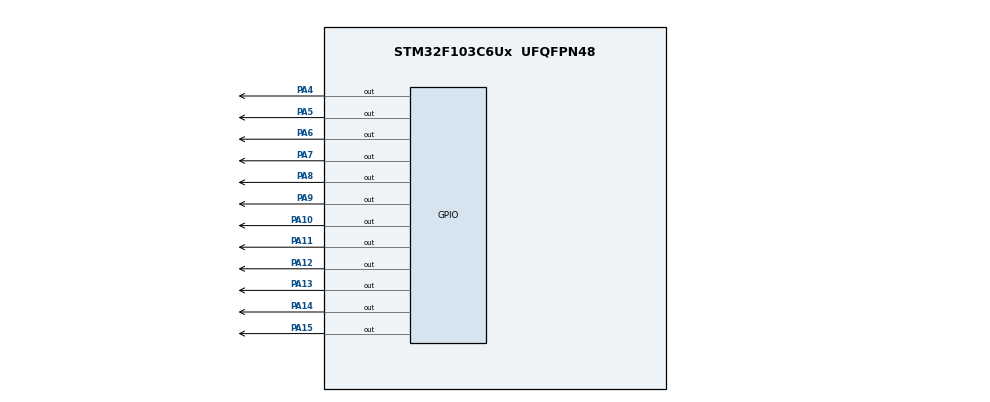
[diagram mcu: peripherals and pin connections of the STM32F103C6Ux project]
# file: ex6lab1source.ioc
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Mcu.Family=STM32F1
Mcu.Name=STM32F103C6Ux
Mcu.Package=UFQFPN48
NVIC.PriorityGroup=NVIC_PRIORITYGROUP_4
PA10.Signal=GPIO_Output
PA11.Signal=GPIO_Output
PA12.Signal=GPIO_Output
PA13.Signal=GPIO_Output
PA14.Signal=GPIO_Output
PA15.Signal=GPIO_Output
PA4.Signal=GPIO_Output
PA5.Signal=GPIO_Output
PA6.Signal=GPIO_Output
PA7.Signal=GPIO_Output
PA8.Signal=GPIO_Output
PA9.Signal=GPIO_Output
ProjectManager.HeapSize=0x200
ProjectManager.StackSize=0x400
ProjectManager.TargetToolchain=Makefile
RCC.APB1Freq_Value=8000000
RCC.APB2Freq_Value=8000000
VP_SYS_VS_ND.Mode=No_Debug
board=custom

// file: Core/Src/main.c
/* USER CODE BEGIN Header */
/**
  ******************************************************************************
  * @file           : main.c
  * @brief          : Main program body
  ******************************************************************************
  * @attention
  *
  * Copyright (c) 2022 STMicroelectronics.
  * All rights reserved.
  *
  * This software is licensed under terms that can be found in the LICENSE file
  * in the root directory of this software component.
  * If no LICENSE file comes with this software, it is provided AS-IS.
  *
  ******************************************************************************
  */
/* USER CODE END Header */
#include "main.h"

void SystemClock_Config(void);
static void MX_GPIO_Init(void);

/* USER CODE BEGIN 0 */
void clearAllClock() {
  GPIOA->ODR = 0xffff;
}

void setNumberOnClock(int num) {
  GPIOA->ODR &= 0xffff & ~(1u << (4 + num));
}

void clearNumberOnClock(int num) {
  GPIOA->ODR |= (1u << (4 + num));
}

/* USER CODE END 0 */

int main(void)
{

  /* MCU Configuration--------------------------------------------------------*/

  /* Reset of all peripherals, Initializes the Flash interface and the Systick. */
  HAL_Init();

  /* Configure the system clock */
  SystemClock_Config();

  /* Initialize all configured peripherals */
  MX_GPIO_Init();
  /* USER CODE BEGIN 2 */
  uint32_t counter = 0;
  /* USER CODE END 2 */

  /* Infinite loop */
  /* USER CODE BEGIN WHILE */
  while (1)
  {
    int seconds = counter % 60;
    int minutes = counter / 60 % 60;
    int hours   = counter / 3600;

    clearAllClock();
    setNumberOnClock(seconds / 5);
    setNumberOnClock(minutes / 5);
    setNumberOnClock(hours % 12);
    counter = (counter + 1) % 86400;
    HAL_Delay(1000);

    /* USER CODE END WHILE */

  }
}

void SystemClock_Config(void)
{
  RCC_OscInitTypeDef RCC_OscInitStruct = {0};
  RCC_ClkInitTypeDef RCC_ClkInitStruct = {0};

  /** Initializes the RCC Oscillators according to the specified parameters
  * in the RCC_OscInitTypeDef structure.
  */
  RCC_OscInitStruct.OscillatorType = RCC_OSCILLATORTYPE_HSI;
  RCC_OscInitStruct.HSIState = RCC_HSI_ON;
  RCC_OscInitStruct.HSICalibrationValue = RCC_HSICALIBRATION_DEFAULT;
  RCC_OscInitStruct.PLL.PLLState = RCC_PLL_NONE;
  if (HAL_RCC_OscConfig(&RCC_OscInitStruct) != HAL_OK)
  {
    Error_Handler();
  }

  /** Initializes the CPU, AHB and APB buses clocks
  */
  RCC_ClkInitStruct.ClockType = RCC_CLOCKTYPE_HCLK|RCC_CLOCKTYPE_SYSCLK
                              |RCC_CLOCKTYPE_PCLK1|RCC_CLOCKTYPE_PCLK2;
  RCC_ClkInitStruct.SYSCLKSource = RCC_SYSCLKSOURCE_HSI;
  RCC_ClkInitStruct.AHBCLKDivider = RCC_SYSCLK_DIV1;
  RCC_ClkInitStruct.APB1CLKDivider = RCC_HCLK_DIV1;
  RCC_ClkInitStruct.APB2CLKDivider = RCC_HCLK_DIV1;

  if (HAL_RCC_ClockConfig(&RCC_ClkInitStruct, FLASH_LATENCY_0) != HAL_OK)
  {
    Error_Handler();
  }
}

static void MX_GPIO_Init(void)
{
  GPIO_InitTypeDef GPIO_InitStruct = {0};

  /* GPIO Ports Clock Enable */
  __HAL_RCC_GPIOA_CLK_ENABLE();

  /*Configure GPIO pin Output Level */
  HAL_GPIO_WritePin(GPIOA, GPIO_PIN_4|GPIO_PIN_5|GPIO_PIN_6|GPIO_PIN_7
                          |GPIO_PIN_8|GPIO_PIN_9|GPIO_PIN_10|GPIO_PIN_11
                          |GPIO_PIN_12|GPIO_PIN_13|GPIO_PIN_14|GPIO_PIN_15, GPIO_PIN_RESET);

  /*Configure GPIO pins : PA4 PA5 PA6 PA7
                           PA8 PA9 PA10 PA11
                           PA12 PA13 PA14 PA15 */
  GPIO_InitStruct.Pin = GPIO_PIN_4|GPIO_PIN_5|GPIO_PIN_6|GPIO_PIN_7
                          |GPIO_PIN_8|GPIO_PIN_9|GPIO_PIN_10|GPIO_PIN_11
                          |GPIO_PIN_12|GPIO_PIN_13|GPIO_PIN_14|GPIO_PIN_15;
  GPIO_InitStruct.Mode = GPIO_MODE_OUTPUT_PP;
  GPIO_InitStruct.Pull = GPIO_NOPULL;
  GPIO_InitStruct.Speed = GPIO_SPEED_FREQ_LOW;
  HAL_GPIO_Init(GPIOA, &GPIO_InitStruct);

}

void Error_Handler(void)
{
  __disable_irq();
  while (1)
  {
  }
}
